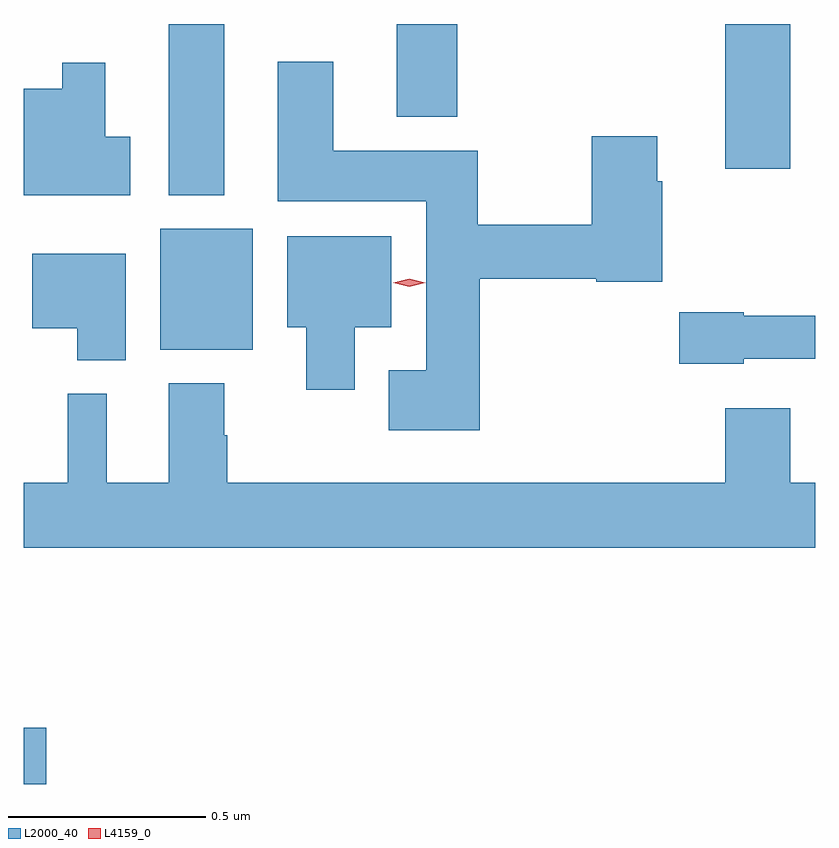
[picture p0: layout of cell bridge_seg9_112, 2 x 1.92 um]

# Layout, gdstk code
import gdstk
lib = gdstk.Library(unit=1e-6, precision=1e-09)
def R(c, l, rs):  # rectangles x0, y0, x1, y1
    for r in rs: c.add(gdstk.rectangle(r[:2], r[2:], *l))
def P(c, l, *ps):  # polygons
    for p in ps: c.add(gdstk.Polygon(p, *l))
L2000_40 = (2000, 40)
L4159_0 = (4159, 0)

bridge_seg9_112 = lib.new_cell('bridge_seg9_112')
R(bridge_seg9_112, L2000_40, [(870.527,1181.171,870.583,1181.313), (870.872,1182.269,871.105,1182.574), (870.893,1182.659,871.033,1183.092), (872.3,1182.726,872.464,1183.092), (871.469,1182.857,871.622,1183.092)])
P(bridge_seg9_112, L2000_40, [(871.679,1182.448),(871.974,1182.448),(871.974,1182.44),(872.141,1182.44),(872.141,1182.695),(872.128,1182.695),(872.128,1182.808),(871.963,1182.808),(871.963,1182.584),(871.674,1182.584),(871.674,1182.772),(871.309,1182.772),(871.309,1182.997),(871.169,1182.997),(871.169,1182.644),(871.544,1182.644),(871.544,1182.217),(871.449,1182.217),(871.449,1182.065),(871.679,1182.065)],
  [(870.796,1182.807),(870.733,1182.807),(870.733,1182.994),(870.624,1182.994),(870.624,1182.928),(870.527,1182.928),(870.527,1182.659),(870.796,1182.659)],
  [(871.363,1182.326),(871.456,1182.326),(871.456,1182.556),(871.193,1182.556),(871.193,1182.326),(871.241,1182.326),(871.241,1182.168),(871.363,1182.168)],
  [(870.784,1182.511),(870.548,1182.511),(870.548,1182.323),(870.662,1182.323),(870.662,1182.242),(870.784,1182.242)],
  [(872.346,1182.246),(872.527,1182.246),(872.527,1182.355),(872.346,1182.355),(872.346,1182.363),(872.184,1182.363),(872.184,1182.233),(872.346,1182.233)],
  [(872.527,1181.932),(872.464,1181.932),(872.464,1182.121),(872.3,1182.121),(872.3,1181.932),(871.041,1181.932),(871.041,1182.053),(871.033,1182.053),(871.033,1182.184),(870.893,1182.184),(870.893,1181.932),(870.736,1181.932),(870.736,1182.157),(870.638,1182.157),(870.638,1181.932),(870.527,1181.932),(870.527,1181.768),(872.527,1181.768)])
P(bridge_seg9_112, L4159_0, [(871.501,1182.428),(871.461,1182.438),(871.461,1182.438),(871.461,1182.438),(871.501,1182.448),(871.541,1182.438),(871.541,1182.438),(871.541,1182.438)])

lib.write_gds('bridge_seg9_112.gds')
